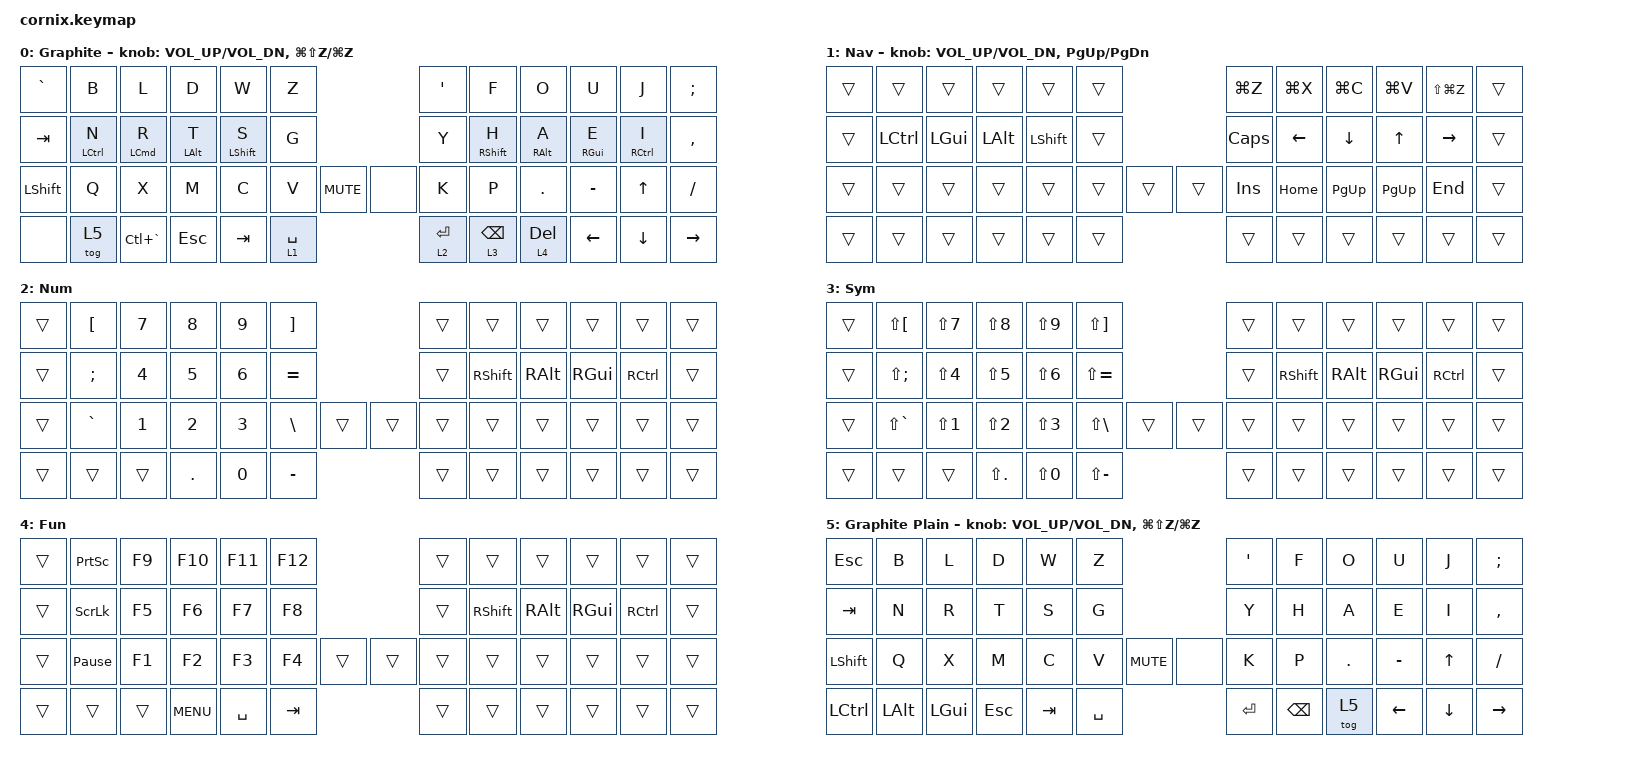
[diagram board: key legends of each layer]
/*
 * Copyright (c) 2020 The ZMK Contributors
 *
 * SPDX-License-Identifier: MIT
 */

#include "zmk-helpers/helper.h"
#include "includes/cornix54.h"

// tap windows for ctl alt and gui

#define HM_TAPPING_TERM 250
#define HM_TAPPING_REPEAT 210

// quick tapping for shift

#define HM_TAPPING_TERM_FAST 200
#define HM_PRIOR_IDLE 70
#define BASE 0
#define WIN 1
#define LOWER 2
#define RAISE 3
#define ADJUST 4
#define NAVI   5
#define NUM    6
#define DEBUG  7

// https://github.com/urob/zmk-config/tree/main#timeless-homerow-mods

#define KEYS_L LT0 LT1 LT2 LT3 LT4 LT5 LM0 LM1 LM2 LM3 LM4 LM5 LB0 LB1 LB2 LB3 LB4 LB5  // left hand
#define KEYS_R RT0 RT1 RT2 RT3 RT4 RT5 RM0 RM1 RM2 RM3 RM4 RM5 RB0 RB1 RB2 RB3 RB4 RB5  // right hand
#define THUMBS LH1 LH0 RH0 RH1
#define KEYS_T LH1 LH0 RH0 RH1
#define ZMK_POINTING_DEFAULT_SCRL_VAL 15

#include <behaviors.dtsi>
#include <dt-bindings/zmk/keys.h>

/ {
    // Activate ADJUST layer by pressing raise and lower

    behaviors {
        u_mt: u_mt {
            compatible = "zmk,behavior-hold-tap";
            #binding-cells = <2>;
            tapping-term-ms = <200>;
            flavor = "tap-preferred";
            bindings = <&kp>, <&kp>;
        };

        u_lt: u_lt {
            compatible = "zmk,behavior-hold-tap";
            #binding-cells = <2>;
            tapping-term-ms = <200>;
            flavor = "tap-preferred";
            bindings = <&mo>, <&kp>;
        };

        hm_l: homerow_mods_left {
            compatible = "zmk,behavior-hold-tap";
            #binding-cells = <2>;
            bindings = <&kp>, <&kp>;

            flavor = "balanced";
            tapping-term-ms = <HM_TAPPING_TERM>;
            quick-tap-ms = <200>;                // repeat on tap-into-hold
            require-prior-idle-ms = <HM_PRIOR_IDLE>;
            hold-trigger-key-positions = <KEYS_R KEYS_T>;
            hold-trigger-on-release;
        };

        hm_r: homerow_mods_right {
            compatible = "zmk,behavior-hold-tap";
            #binding-cells = <2>;
            bindings = <&kp>, <&kp>;

            flavor = "balanced";
            tapping-term-ms = <HM_TAPPING_TERM>;
            quick-tap-ms = <200>;
            require-prior-idle-ms = <HM_PRIOR_IDLE>;
            hold-trigger-key-positions = <KEYS_L KEYS_T>;
            hold-trigger-on-release;
        };

        // Positional Homerow mods for shift
        // Use faster tapping term and disable some features that may
        // cause false negatives.

        hm_shift_l: hm_shift_l {
            compatible = "zmk,behavior-hold-tap";
            #binding-cells = <2>;
            bindings = <&kp>, <&kp>;

            //flavor = "balanced";

            flavor = "balanced";
            tapping-term-ms = <HM_TAPPING_TERM_FAST>;
            quick-tap-ms = <200>;
            require-prior-idle-ms = <HM_PRIOR_IDLE>;
            hold-trigger-key-positions = <KEYS_R KEYS_T>;
            hold-trigger-on-release;
        };

        hm_shift_r: hm_shift_r {
            compatible = "zmk,behavior-hold-tap";
            #binding-cells = <2>;
            bindings = <&kp>, <&kp>;

            flavor = "balanced";
            tapping-term-ms = <HM_TAPPING_TERM_FAST>;
            quick-tap-ms = <200>;
            require-prior-idle-ms = <HM_PRIOR_IDLE>;
            hold-trigger-key-positions = <KEYS_L KEYS_T>;

            // for quick tapping; shift+~

            hold-trigger-on-release;
        };

        /*
         * Non-Positional Homerow Mods
         * Used for &mm_grescm_gui behavior on left hand.
         *
         * Usage: &hm LSHFT T
         * Tap: T
         * Tap-Tap-Hold: Repeat T
         * Hold: LSHIFT
         */

        hm: homerow_mods {
            compatible = "zmk,behavior-hold-tap";
            #binding-cells = <2>;
            bindings = <&kp>, <&kp>;

            flavor = "balanced";
            tapping-term-ms = <HM_TAPPING_TERM>;
            quick-tap-ms = <200>;
        };

        lt: layer_tap {
            compatible = "zmk,behavior-hold-tap";
            #binding-cells = <2>;
            bindings = <&mo>, <&kp>;

            flavor = "hold-preferred";
            tapping-term-ms = <HM_TAPPING_TERM>;
            quick-tap-ms = <200>;
        };
    };

    conditional_layers {
        compatible = "zmk,conditional-layers";

        adjust_layer {
            if-layers = <1 1>;
            then-layer = <1>;
        };
    };

    combos {
        compatible = "zmk,combos";

        cb_ltm {
            bindings = <&kp ESC>;
            key-positions = <2 4>;
            layers = <0>;
        };

        cb_lm {
            bindings = <&kp TAB>;
            key-positions = <14 16>;
            layers = <0>;
        };

        cb_enter {
            bindings = <&kp RET>;
            key-positions = <21 19>;
            layers = <0>;
        };

        layer3 {
            bindings = <&kp N3>;
            key-positions = <5 6>;
        };

        layer4 {
            bindings = <&kp N4>;
            key-positions = <5 6>;
        };
    };

    keymap {
        compatible = "zmk,keymap";

        BASE {
            display-name = "Graphite";

            // ------------------------------------------------------------------------------------------------------------
            // | Graphite Layout - https://github.com/rdavison/graphite-layout                                            |
            // |   `   |  B  |  L  |  D   |  W   |  Z   |                   |  '   |  F    |  O    |  U   |   J   |   ;   |
            // |  TAB  |  N  |  R  |  T   |  S   |  G   |                   |  Y   |  H    |  A    |  E   |   I   |   ,   |
            // | SHIFT |  Q  |  X  |  M   |  C   |  V   |  MUTE  |  |       |  K   |  P    |  .    |  -   |   ↑   |   /   |
            //               | GUI | ALT  | CTRL | LOWER|  ENTER |  | SPACE | RAISE| CTRL  | ALT   | GUI  |

            bindings = <
&kp GRAVE       &kp B          &kp L                 &kp D             &kp W                &kp Z                             &kp SQT        &kp F                &kp O              &kp U              &kp J          &kp SEMI
&kp TAB         &hm_l LCTRL N  &hm_l LEFT_COMMAND R  &hm_l LEFT_ALT T  &hm_shift_l LSHFT S  &kp G                             &kp Y          &hm_shift_r RSHFT H  &hm_r RIGHT_ALT A  &hm_r RIGHT_GUI E  &hm_r RCTRL I  &kp COMMA
&kp LEFT_SHIFT  &kp Q          &kp X                 &kp M             &kp C                &kp V          &kp K_MUTE  &none  &kp K          &kp P                &kp DOT            &kp MINUS          &kp UP         &kp SLASH
&none           &tog 5         &kp LC(GRAVE)         &kp ESCAPE        &kp TAB              &u_lt 1 SPACE                     &u_lt 2 ENTER  &u_lt 3 BACKSPACE    &u_lt 4 DEL        &kp LEFT           &kp DOWN       &kp RIGHT
            >;

            sensor-bindings =
                <&inc_dec_kp C_VOL_UP C_VOL_DN>,
                <&inc_dec_kp LG(LS(Z)) LG(Z)>;
        };

        NAVIGATION {
            bindings = <
&trans  &trans     &trans    &trans    &trans     &trans                  &kp LG(Z)     &kp LG(X)  &kp LG(C)    &kp LG(V)    &kp LS(LG(Z))  &trans
&trans  &kp LCTRL  &kp LGUI  &kp LALT  &kp LSHFT  &trans                  &kp CAPSLOCK  &kp LEFT   &kp DOWN     &kp UP       &kp RIGHT      &trans
&trans  &trans     &trans    &trans    &trans     &trans  &trans  &trans  &kp INS       &kp HOME   &kp PAGE_UP  &kp PAGE_UP  &kp END        &trans
&trans  &trans     &trans    &trans    &trans     &trans                  &trans        &trans     &trans       &trans       &trans         &trans
            >;

            label = "Nav";
            sensor-bindings =
                <&inc_dec_kp C_VOL_UP C_VOL_DN>,
                <&inc_dec_kp PG_UP PG_DN>;
        };

        NUMBER {
            bindings = <
&trans  &kp LBKT   &kp N7  &kp N8   &kp N9  &kp RBKT                   &trans  &trans     &trans    &trans    &trans     &trans
&trans  &kp SEMI   &kp N4  &kp N5   &kp N6  &kp EQUAL                  &trans  &kp RSHFT  &kp RALT  &kp RGUI  &kp RCTRL  &trans
&trans  &kp GRAVE  &kp N1  &kp N2   &kp N3  &kp BSLH   &trans  &trans  &trans  &trans     &trans    &trans    &trans     &trans
&trans  &trans     &trans  &kp DOT  &kp N0  &kp MINUS                  &trans  &trans     &trans    &trans    &trans     &trans
            >;

            label = "Num";
        };

        SYMBOL {
            bindings = <
&trans  &kp LS(LBKT)   &kp LS(N7)  &kp LS(N8)   &kp LS(N9)  &kp LS(RBKT)                   &trans  &trans     &trans    &trans    &trans     &trans
&trans  &kp LS(SEMI)   &kp LS(N4)  &kp LS(N5)   &kp LS(N6)  &kp LS(EQUAL)                  &trans  &kp RSHFT  &kp RALT  &kp RGUI  &kp RCTRL  &trans
&trans  &kp LS(GRAVE)  &kp LS(N1)  &kp LS(N2)   &kp LS(N3)  &kp LS(BSLH)   &trans  &trans  &trans  &trans     &trans    &trans    &trans     &trans
&trans  &trans         &trans      &kp LS(DOT)  &kp LS(N0)  &kp LS(MINUS)                  &trans  &trans     &trans    &trans    &trans     &trans
            >;

            label = "Sym";
        };

        FUNCTION {
            bindings = <
&trans  &kp PRINTSCREEN  &kp F9  &kp F10     &kp F11    &kp F12                  &trans  &trans     &trans    &trans    &trans     &trans
&trans  &kp SCROLLLOCK   &kp F5  &kp F6      &kp F7     &kp F8                   &trans  &kp RSHFT  &kp RALT  &kp RGUI  &kp RCTRL  &trans
&trans  &kp PAUSE_BREAK  &kp F1  &kp F2      &kp F3     &kp F4   &trans  &trans  &trans  &trans     &trans    &trans    &trans     &trans
&trans  &trans           &trans  &kp K_MENU  &kp SPACE  &kp TAB                  &trans  &trans     &trans    &trans    &trans     &trans
            >;

            label = "Fun";
        };

        GRAPHITE_PLAIN {
            display-name = "Graphite Plain";
            bindings = <
&kp ESC         &kp B     &kp L     &kp D       &kp W    &kp Z                         &kp SQT    &kp F     &kp O      &kp U     &kp J     &kp SEMI
&kp TAB         &kp N     &kp R     &kp T       &kp S    &kp G                         &kp Y      &kp H     &kp A      &kp E     &kp I     &kp COMMA
&kp LEFT_SHIFT  &kp Q     &kp X     &kp M       &kp C    &kp V      &kp K_MUTE  &none  &kp K      &kp P     &kp DOT    &kp MINUS &kp UP    &kp SLASH
&kp LCTRL       &kp LALT  &kp LGUI  &kp ESCAPE  &kp TAB  &kp SPACE                     &kp ENTER  &kp BSPC  &tog 5     &kp LEFT  &kp DOWN  &kp RIGHT
            >;

            sensor-bindings =
                <&inc_dec_kp C_VOL_UP C_VOL_DN>,
                <&inc_dec_kp LG(LS(Z)) LG(Z)>;

            label = "Graphite";
        };
    };
};
